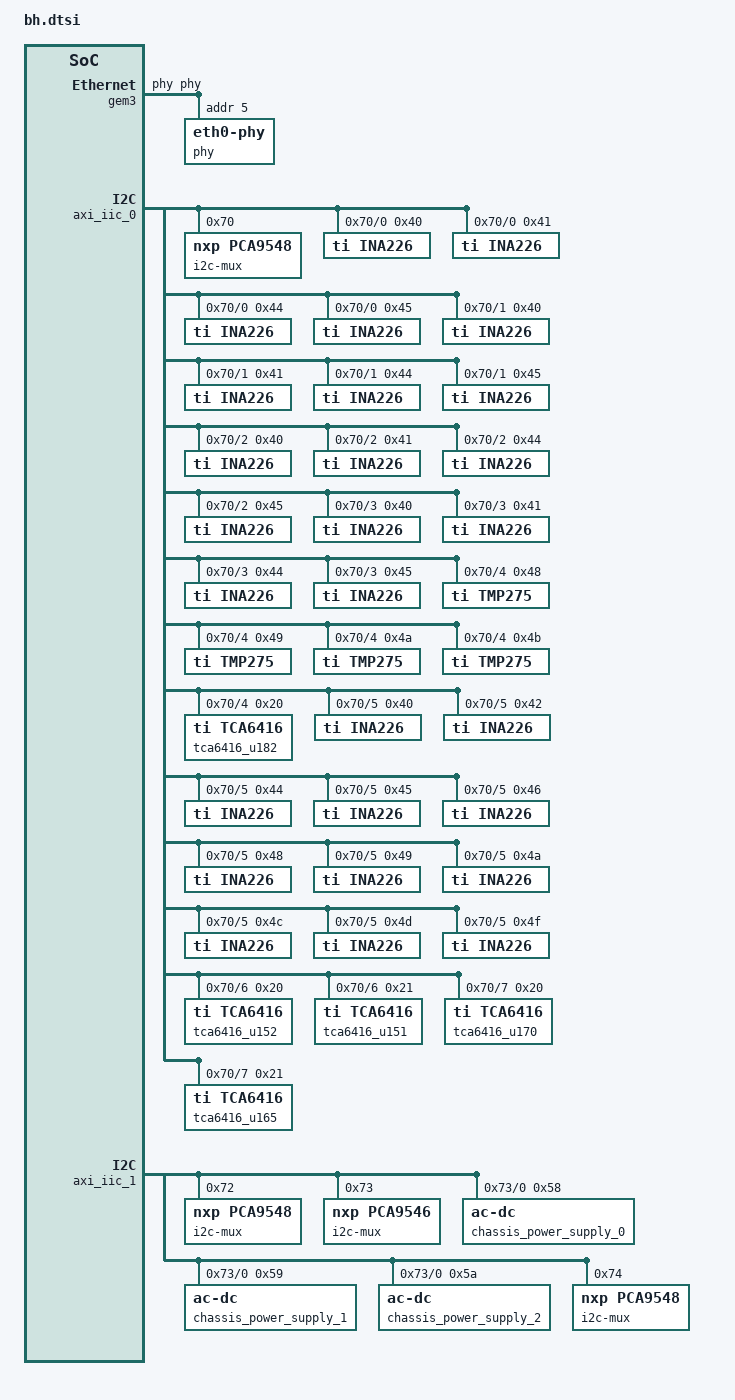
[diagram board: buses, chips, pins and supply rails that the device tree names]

&gem2 {
	local-mac-address = [00 0a 35 01 01 05];
};

&gem3 {
	local-mac-address = [00 0a 35 01 00 05];
	phy-handle = <&phy>;
	phy: eth0-phy@5 {
		reg = <5>;
		ti,rx-internal-delay = <0x8>;
		ti,tx-internal-delay = <0xa>;
		ti,fifo-depth = <0x1>;
	};
};

&axi_gpio_0 {
  gpio-line-names = "slot_0_pwr", "slot_1_pwr", "slot_2_pwr", "slot_3_pwr", 
    "slot_4_pwr", "slot_5_pwr", "slot_6_pwr", "slot_7_pwr", 
    "slot_8_pwr", "slot_9_pwr", "slot_10_pwr", "slot_11_pwr", 
    "slot_12_pwr", "slot_13_pwr", "slot_14_pwr", "slot_15_pwr";
};

&axi_iic_0 {
	#address-cells = <2>;
	#size-cells = <2>;

  i2c-mux@70 { /* u23 */
    compatible = "nxp,pca9548";
    #address-cells = <1>;
    #size-cells = <0>;
    reg = <0x70>;

    i2c@0 {
			#address-cells = <1>;
			#size-cells = <0>;
			reg = <0>;

			ina226@40 { /* u37 */
				compatible = "ti,ina226";
				reg = <0x40>;
				shunt-resistor = <5000>;
			};
			ina226@41 { /* u39 */
				compatible = "ti,ina226";
				reg = <0x41>;
				shunt-resistor = <5000>;
			};
			ina226@44 { /* u41 */
				compatible = "ti,ina226";
				reg = <0x44>;
				shunt-resistor = <5000>;
			};
			ina226@45 { /* u43 */
				compatible = "ti,ina226";
				reg = <0x45>;
				shunt-resistor = <5000>;
			};
    };

    i2c@1 {
			#address-cells = <1>;
			#size-cells = <0>;
			reg = <1>;

			ina226@40 { /* u38 */
				compatible = "ti,ina226";
				reg = <0x40>;
				shunt-resistor = <5000>;
			};
			ina226@41 { /* u40 */
				compatible = "ti,ina226";
				reg = <0x41>;
				shunt-resistor = <5000>;
			};
			ina226@44 { /* u42 */
				compatible = "ti,ina226";
				reg = <0x44>;
				shunt-resistor = <5000>;
			};
			ina226@45 { /* u44 */
				compatible = "ti,ina226";
				reg = <0x45>;
				shunt-resistor = <5000>;
			};
    };

    i2c@2 {
			#address-cells = <1>;
			#size-cells = <0>;
			reg = <2>;

			ina226@40 { /* u45 */
				compatible = "ti,ina226";
				reg = <0x40>;
				shunt-resistor = <5000>;
			};
			ina226@41 { /* u47 */
				compatible = "ti,ina226";
				reg = <0x41>;
				shunt-resistor = <5000>;
			};
			ina226@44 { /* u49 */
				compatible = "ti,ina226";
				reg = <0x44>;
				shunt-resistor = <5000>;
			};
			ina226@45 { /* u51 */
				compatible = "ti,ina226";
				reg = <0x45>;
				shunt-resistor = <5000>;
			};
    };

    i2c@3 {
			#address-cells = <1>;
			#size-cells = <0>;
			reg = <3>;

			ina226@40 { /* u46 */
				compatible = "ti,ina226";
				reg = <0x40>;
				shunt-resistor = <5000>;
			};
			ina226@41 { /* u48 */
				compatible = "ti,ina226";
				reg = <0x41>;
				shunt-resistor = <5000>;
			};
			ina226@44 { /* u50 */
				compatible = "ti,ina226";
				reg = <0x44>;
				shunt-resistor = <5000>;
			};
			ina226@45 { /* u52 */
				compatible = "ti,ina226";
				reg = <0x45>;
				shunt-resistor = <5000>;
			};
    };

    i2c@4 {
			#address-cells = <1>;
			#size-cells = <0>;
			reg = <4>;
      
      tmp275@48 { /* u120 */
        compatible = "ti,tmp275";
        reg = <0x48>;
      };
      tmp275@49 { /* u121 */
        compatible = "ti,tmp275";
        reg = <0x49>;
      };
      tmp275@4a { /* u122 */
        compatible = "ti,tmp275";
        reg = <0x4a>;
      };
      tmp275@4b { /* u123 */
        compatible = "ti,tmp275";
        reg = <0x4b>;
      };
      tca6416_u182: gpio@20 {
        compatible = "ti,tca6416";
        reg = <0x20>;
        gpio-controller; /* IRQ not connected */
        #gpio-cells = <2>;
        gpio-line-names = "slot_0_resetn", "slot_1_resetn", "slot_2_resetn", "slot_3_resetn", 
          "slot_4_resetn", "slot_5_resetn", "slot_6_resetn", "slot_7_resetn", 
          "slot_8_resetn", "slot_9_resetn", "slot_10_resetn", "slot_11_resetn", 
          "slot_12_resetn", "slot_13_resetn", "slot_14_resetn", "slot_15_resetn";
      };
    };

    i2c@5 {
			#address-cells = <1>;
			#size-cells = <0>;
			reg = <5>;

			ina226@40 { /* u154 */
				compatible = "ti,ina226";
				reg = <0x40>;
				shunt-resistor = <5000>;
			};
			ina226@42 { /* u168 */
				compatible = "ti,ina226";
				reg = <0x42>;
				shunt-resistor = <5000>;
			};
			ina226@44 { /* u124 */
				compatible = "ti,ina226";
				reg = <0x44>;
				shunt-resistor = <5000>;
			};
			ina226@45 { /* u126 */
				compatible = "ti,ina226";
				reg = <0x45>;
				shunt-resistor = <5000>;
			};
			ina226@46 { /* u166 */
				compatible = "ti,ina226";
				reg = <0x46>;
				shunt-resistor = <5000>;
			};
			ina226@48 { /* u128 */
				compatible = "ti,ina226";
				reg = <0x48>;
				shunt-resistor = <5000>;
			};
			ina226@49 { /* u130 */
				compatible = "ti,ina226";
				reg = <0x49>;
				shunt-resistor = <5000>;
			};
			ina226@4a { /* u181 */
				compatible = "ti,ina226";
				reg = <0x4a>;
				shunt-resistor = <5000>;
			};
			ina226@4c { /* u127 */
				compatible = "ti,ina226";
				reg = <0x4c>;
				shunt-resistor = <5000>;
			};
			ina226@4d { /* u129 */
				compatible = "ti,ina226";
				reg = <0x4d>;
				shunt-resistor = <5000>;
			};
			ina226@4f { /* u179 */
				compatible = "ti,ina226";
				reg = <0x4f>;
				shunt-resistor = <5000>;
			};
    };
        
    i2c@6 {
      #address-cells = <1>;
      #size-cells = <0>;
      reg = <6>;

      tca6416_u152: gpio@20 {
        compatible = "ti,tca6416";
        reg = <0x20>;
        gpio-controller; /* IRQ not connected */
        #gpio-cells = <2>;
        gpio-line-names = "slot_0_alert", "slot_1_alert", "slot_2_alert", "slot_3_alert", 
          "slot_4_alert", "slot_5_alert", "slot_6_alert", "slot_7_alert", 
          "slot_8_alert", "slot_9_alert", "slot_10_alert", "slot_11_alert", 
          "slot_12_alert", "slot_13_alert", "slot_14_alert", "slot_15_alert";
      };

      tca6416_u151: gpio@21 {
        compatible = "ti,tca6416";
        reg = <0x21>;
        gpio-controller; /* IRQ not connected */
        #gpio-cells = <2>;
        gpio-line-names = "slot_0_prsnt", "slot_1_prsnt", "slot_2_prsnt", "slot_3_prsnt", 
          "slot_4_prsnt", "slot_5_prsnt", "slot_6_prsnt", "slot_7_prsnt", 
          "slot_8_prsnt", "slot_9_prsnt", "slot_10_prsnt", "slot_11_prsnt", 
          "slot_12_prsnt", "slot_13_prsnt", "slot_14_prsnt", "slot_15_prsnt";
      };
    };

    i2c@7 {
      #address-cells = <1>;
      #size-cells = <0>;
      reg = <7>;

      tca6416_u170: gpio@20 {
        compatible = "ti,tca6416";
        reg = <0x20>;
        gpio-controller; /* IRQ not connected */
        #gpio-cells = <2>;
        gpio-line-names = "fan_alarm_0", "fan_alarm_1", "", "", 
          "", "", "", "", 
          "jtag_s_0", "jtag_s_1", "jtag_s_2", "jtag_oe_b_0", 
          "jtag_oe_b_1", "", "", "";
      };

      tca6416_u165: gpio@21 {
        compatible = "ti,tca6416";
        reg = <0x21>;
        gpio-controller; /* IRQ not connected */
        #gpio-cells = <2>;
        gpio-line-names = "nf_uart_jtag_0_sel", "nf_uart_jtag_1_sel", "nf_uart_jtag_2_sel", "nf_uart_jtag_3_sel", 
          "nf_uart_jtag_4_sel", "nf_uart_jtag_5_sel", "nf_uart_jtag_6_sel", "nf_uart_jtag_7_sel", 
          "nf_uart_jtag_8_sel", "nf_uart_jtag_9_sel", "nf_uart_jtag_10_sel", "nf_uart_jtag_11_sel", 
          "nf_uart_jtag_12_sel", "nf_uart_jtag_13_sel", "nf_uart_jtag_14_sel", "nf_uart_jtag_15_sel";
      };
    };
  };
};

&axi_iic_1 {
	#address-cells = <2>;
	#size-cells = <2>;

  i2c-mux@72 { /* u24 */
    compatible = "nxp,pca9548";
    #address-cells = <1>;
    #size-cells = <0>;
    reg = <0x72>;
  };

  i2c-mux@73 { /* u26 */
    compatible = "nxp,pca9546";
    #address-cells = <1>;
    #size-cells = <0>;
    reg = <0x73>;

    i2c@0 {
      #address-cells = <1>;
      #size-cells = <0>;
      reg = <0>;

      chassis_power_supply_0: ac-dc@58 {
        reg = <0x58>;
      };

      chassis_power_supply_1: ac-dc@59 {
        reg = <0x59>;
      };

      chassis_power_supply_2: ac-dc@5a {
        reg = <0x5a>;
      };
    };
  };

  i2c-mux@74 { /* u22 */
    compatible = "nxp,pca9548";
    #address-cells = <1>;
    #size-cells = <0>;
    reg = <0x74>;
  };
};


